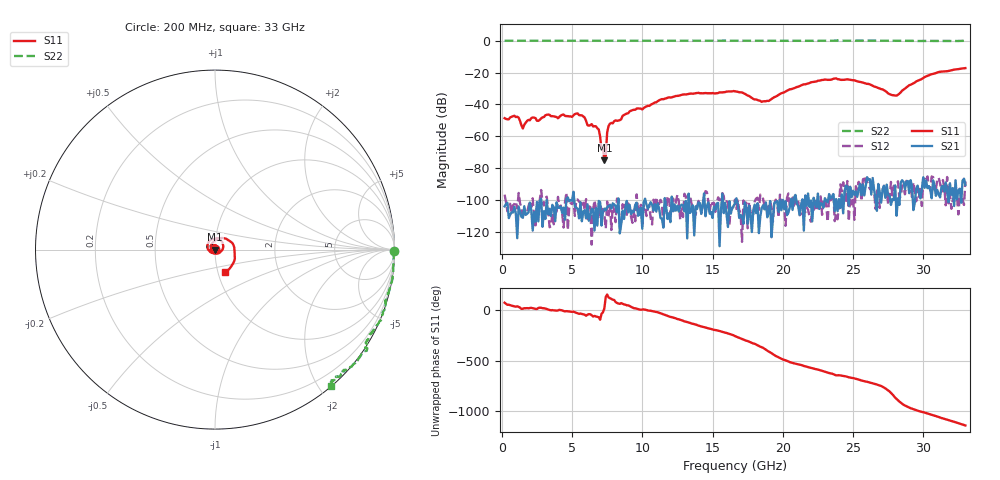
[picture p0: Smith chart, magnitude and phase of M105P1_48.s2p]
# GHZ S RI R 50
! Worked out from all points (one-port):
!   329 points, 200 MHz to 33 GHz, reference 50 ohm
!   lowest |S11| = -75.0 dB at 7.3 GHz (marker M1), VSWR 1.00, Z = 50 + j0.00603 ohm
!   |S11| at or under -10 dB: start of sweep to end of sweep
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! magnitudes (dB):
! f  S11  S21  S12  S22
! 200 MHz  -48.6  -103.9  -96.5  0.0
! 1.1 GHz  -47.7  -123.8  -105.2  0.0
! 1.5 GHz  -55.1  -111.0  -111.6  0.0
! 2.2 GHz  -48.2  -119.0  -98.8  0.0
! 5.7 GHz  -46.8  -113.2  -104.4  0.0
! 6.1 GHz  -53.0  -102.6  -111.7  0.0
! 6.9 GHz  -55.7  -100.5  -111.5  0.0
! 7.1 GHz  -68.2  -115.9  -106.0  0.0
! 7.2 GHz  -67.4  -107.1  -105.9  0.0
! 7.3 GHz  -75.0  -105.3  -108.7  0.0
! 7.4 GHz  -72.1  -106.4  -117.7  0.0
! 7.5 GHz  -57.6  -104.5  -100.8  0.0
! 7.7 GHz  -52.0  -102.9  -102.9  0.0
! 11.2 GHz  -37.3  -105.3  -102.0  -0.1
! 16.6 GHz  -31.7  -101.8  -99.6  0.0
! 18.5 GHz  -38.3  -105.0  -98.3  -0.1
! 22.1 GHz  -26.0  -113.3  -106.3  -0.1
! 25.1 GHz  -24.8  -96.6  -112.3  0.0
! 27.6 GHz  -33.5  -97.1  -100.6  0.0
! 28.1 GHz  -34.4  -109.7  -90.9  0.0
! 30.5 GHz  -21.3  -93.6  -93.6  -0.2
! 33 GHz  -17.2  -90.3  -88.2  0.0
